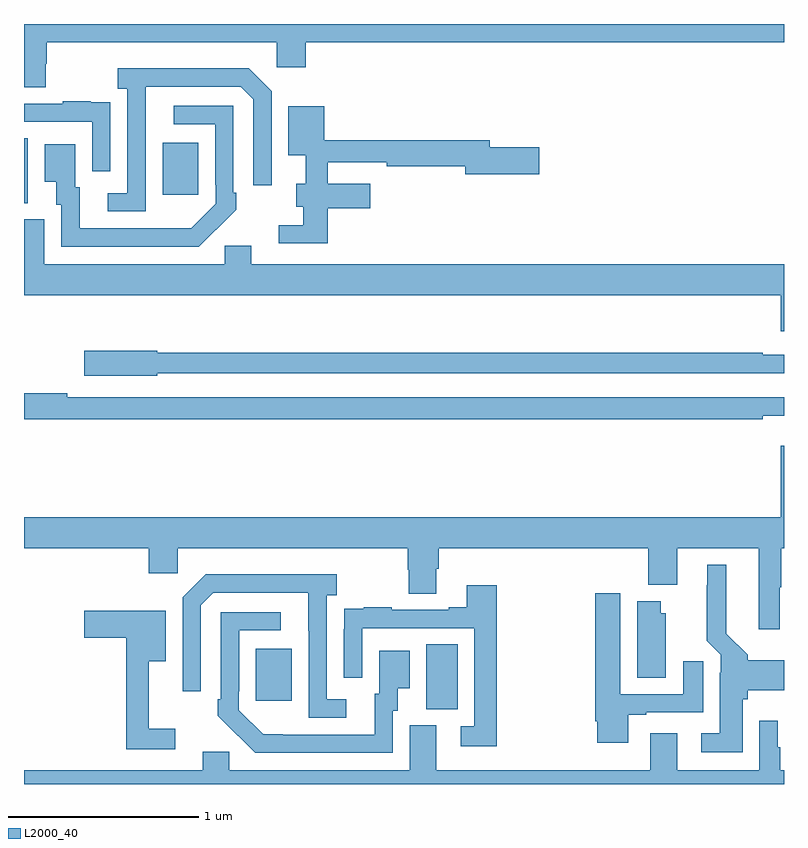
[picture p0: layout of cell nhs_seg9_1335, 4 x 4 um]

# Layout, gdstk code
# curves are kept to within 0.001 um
import gdstk
lib = gdstk.Library(unit=1e-6, precision=1e-09)
def R(c, l, rs):  # rectangles x0, y0, x1, y1
    for r in rs: c.add(gdstk.rectangle(r[:2], r[2:], *l))
def P(c, l, *ps):  # polygons
    for p in ps: c.add(gdstk.Polygon(p, *l))
L2000_40 = (2000, 40)

nhs_seg9_1335 = lib.new_cell('nhs_seg9_1335')
R(nhs_seg9_1335, L2000_40, [(187.118,1208.893,187.282,1209.236), (186.221,1208.937,186.409,1209.211), (185,1211.557,185.02,1211.9), (185.729,1211.601,185.917,1211.875)])
P(nhs_seg9_1335, L2000_40, [(185.115,1212.291),(185.12,1212.291),(185.12,1212.404),(186.33,1212.404),(186.33,1212.273),(186.482,1212.273),(186.482,1212.404),(189,1212.404),(189,1212.5),(185,1212.5),(185,1212.166),(185.115,1212.166)],
  [(185.64,1211.971),(185.641,1212.171),(186.141,1212.171),(186.207,1212.105),(186.207,1211.652),(186.303,1211.652),(186.303,1212.147),(186.182,1212.268),(185.493,1212.268),(185.493,1212.158),(185.544,1212.158),(185.544,1211.61),(185.442,1211.61),(185.442,1211.514),(185.64,1211.514)],
  [(185.454,1211.978),(185.453,1211.978),(185.453,1212.087),(185.351,1212.087),(185.351,1212.094),(185.203,1212.094),(185.203,1212.081),(185,1212.081),(185,1211.985),(185.358,1211.985),(185.358,1211.724),(185.454,1211.724)],
  [(186.011,1211.419),(186.012,1211.418),(186.117,1211.523),(186.117,1211.611),(186.102,1211.611),(186.102,1212.069),(185.787,1212.069),(185.787,1211.973),(186.006,1211.973),(186.006,1211.653),(186.009,1211.653),(186.009,1211.553),(185.881,1211.425),(185.293,1211.424),(185.293,1211.64),(185.269,1211.64),(185.269,1211.866),(185.108,1211.866),(185.108,1211.669),(185.171,1211.669),(185.171,1211.55),(185.196,1211.55),(185.196,1211.328),(185.92,1211.328)],
  [(186.599,1211.53),(186.823,1211.53),(186.823,1211.659),(186.599,1211.659),(186.599,1211.772),(186.91,1211.772),(186.91,1211.752),(187.322,1211.752),(187.322,1211.71),(187.711,1211.71),(187.711,1211.852),(187.45,1211.852),(187.45,1211.888),(186.579,1211.888),(186.579,1212.067),(186.392,1212.067),(186.392,1211.81),(186.482,1211.81),(186.482,1211.659),(186.434,1211.659),(186.434,1211.537),(186.471,1211.537),(186.471,1211.442),(186.342,1211.442),(186.342,1211.346),(186.599,1211.346)],
  [(189,1211.236),(186.196,1211.236),(186.196,1211.334),(186.057,1211.334),(186.057,1211.236),(185.107,1211.236),(185.107,1211.472),(185,1211.472),(185,1211.072),(188.984,1211.072),(188.984,1210.884),(189,1210.884)],
  [(185.7,1210.662),(189,1210.662),(189,1210.758),(188.888,1210.758),(188.888,1210.771),(185.7,1210.771),(185.7,1210.779),(185.316,1210.779),(185.316,1210.649),(185.7,1210.649)],
  [(188.888,1210.439),(189,1210.439),(189,1210.536),(185.228,1210.536),(185.228,1210.556),(185,1210.556),(185,1210.42),(188.888,1210.42)],
  [(188.977,1209.536),(188.985,1209.536),(188.985,1209.74),(189,1209.74),(189,1210.279),(188.984,1210.279),(188.984,1209.904),(185,1209.904),(185,1209.74),(185.657,1209.74),(185.657,1209.609),(185.808,1209.609),(185.808,1209.74),(187.019,1209.74),(187.019,1209.627),(187.024,1209.627),(187.024,1209.502),(187.171,1209.502),(187.171,1209.634),(187.184,1209.634),(187.184,1209.74),(188.285,1209.74),(188.285,1209.548),(188.437,1209.548),(188.437,1209.74),(188.867,1209.74),(188.867,1209.315),(188.977,1209.315)],
  [(188.782,1208.946),(188.808,1208.946),(188.808,1208.993),(189,1208.993),(189,1209.151),(188.808,1209.151),(188.808,1209.179),(188.695,1209.292),(188.695,1209.655),(188.597,1209.655),(188.597,1209.545),(188.593,1209.545),(188.593,1209.254),(188.667,1209.18),(188.667,1209.086),(188.663,1209.086),(188.663,1208.767),(188.565,1208.767),(188.565,1208.666),(188.782,1208.666)],
  [(186.697,1208.946),(186.594,1208.946),(186.594,1209.494),(186.646,1209.494),(186.646,1209.604),(185.956,1209.604),(185.835,1209.483),(185.835,1208.988),(185.931,1208.988),(185.931,1209.441),(185.997,1209.507),(186.497,1209.507),(186.498,1208.85),(186.697,1208.85)],
  [(187.487,1209.547),(187.331,1209.547),(187.331,1209.43),(187.235,1209.43),(187.235,1209.417),(186.935,1209.417),(186.935,1209.43),(186.787,1209.43),(186.787,1209.423),(186.685,1209.423),(186.685,1209.314),(186.684,1209.314),(186.684,1209.06),(186.78,1209.06),(186.78,1209.321),(187.371,1209.321),(187.371,1208.805),(187.299,1208.805),(187.299,1208.7),(187.487,1208.7)],
  [(188.179,1208.865),(188.275,1208.865),(188.275,1208.877),(188.575,1208.877),(188.575,1209.145),(188.471,1209.145),(188.471,1208.973),(188.137,1208.973),(188.137,1209.505),(188.006,1209.505),(188.006,1208.83),(188.018,1208.83),(188.018,1208.718),(188.179,1208.718)],
  [(188.377,1209.399),(188.35,1209.399),(188.35,1209.463),(188.228,1209.463),(188.228,1209.058),(188.377,1209.058)],
  [(185.797,1208.791),(185.657,1208.791),(185.657,1209.146),(185.746,1209.146),(185.746,1209.411),(185.316,1209.411),(185.316,1209.269),(185.539,1209.269),(185.539,1208.682),(185.797,1208.682)],
  [(186.942,1208.886),(186.967,1208.886),(186.967,1209.005),(187.03,1209.005),(187.03,1209.202),(186.869,1209.202),(186.869,1208.976),(186.845,1208.976),(186.845,1208.76),(186.258,1208.761),(186.129,1208.889),(186.129,1208.989),(186.132,1208.989),(186.132,1209.309),(186.352,1209.309),(186.352,1209.405),(186.036,1209.405),(186.036,1208.947),(186.021,1208.947),(186.021,1208.859),(186.218,1208.664),(186.942,1208.664)],
  [(189,1208.572),(188.98,1208.572),(188.98,1208.694),(188.968,1208.694),(188.968,1208.833),(188.871,1208.833),(188.871,1208.572),(188.437,1208.572),(188.437,1208.767),(188.297,1208.767),(188.297,1208.572),(187.171,1208.572),(187.171,1208.808),(187.031,1208.808),(187.031,1208.572),(186.081,1208.572),(186.081,1208.67),(185.942,1208.67),(185.942,1208.572),(185,1208.572),(185,1208.5),(189,1208.5)])

lib.write_gds('nhs_seg9_1335.gds')
